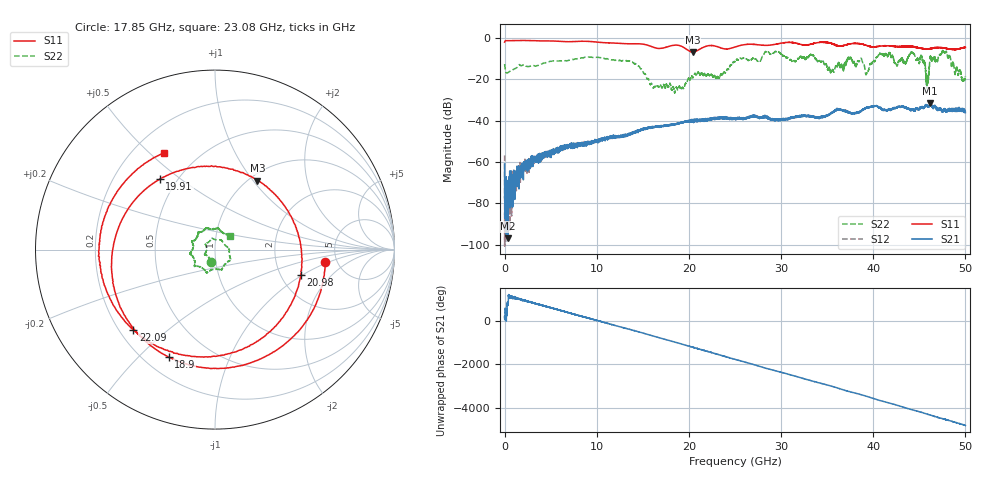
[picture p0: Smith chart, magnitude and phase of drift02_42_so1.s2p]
!Created with skrf (http://scikit-rf.org).
# Hz S RI R 50.0
!freq ReS11 ImS11 ReS21 ImS21 ReS12 ImS12 ReS22 ImS22
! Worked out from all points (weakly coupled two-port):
!   10001 points, 300 kHz to 50 GHz, reference 50 ohm
!   highest |S21| = -31.45 dB at 46.17 GHz (marker M1); lowest = -96.8 dB at 375.3 MHz (marker M2)
!   lowest |S11| = -6.9 dB at 20.41 GHz (marker M3), VSWR 2.64, Z = 54.5 + j52.5 ohm
!   |S11| at or under -10 dB: nowhere
!   |S22| runs from -26.7 to -6.1 dB; largest |S21 - S12| = 0.0035
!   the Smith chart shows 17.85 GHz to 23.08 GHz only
!   S11 on the Smith chart (normalised r, x): 17.85 GHz: 4.03, -0.88; 18.9 GHz: 0.30, -0.62; 19.91 GHz: 0.40, +0.42; 20.98 GHz: 2.56, -0.97; 22.09 GHz: 0.26, -0.39; 23.08 GHz: 0.33, +0.56
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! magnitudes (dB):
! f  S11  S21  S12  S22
! 300 kHz  -2.1  -61.0  -56.8  -12.7
! 375.3 MHz  -1.4  -96.8  -77.5  -16.8
! 3.01 GHz  -1.4  -58.7  -59.6  -13.5
! 8.335 GHz  -1.7  -51.3  -50.9  -9.7
! 13.7 GHz  -2.9  -46.4  -46.4  -11.7
! 16.67 GHz  -5.2  -43.0  -42.8  -23.6
! 17.85 GHz  -4.2  -42.1  -42.3  -23.0
! 18.9 GHz  -3.7  -41.5  -41.5  -24.0
! 19.91 GHz  -6.1  -40.0  -40.4  -19.9
! 20.41 GHz  -6.9  -40.2  -40.0  -19.1
! 20.98 GHz  -6.1  -40.0  -39.7  -16.7
! 22.09 GHz  -3.9  -39.3  -39.5  -17.8
! 23.08 GHz  -4.3  -38.8  -38.8  -19.0
! 25 GHz  -4.5  -39.2  -39.1  -11.5
! 33.34 GHz  -3.1  -37.8  -38.0  -8.3
! 39.32 GHz  -3.8  -33.7  -33.7  -17.0
! 41.67 GHz  -3.9  -34.7  -34.7  -7.8
! 44.26 GHz  -4.2  -34.7  -34.4  -7.4
! 45.85 GHz  -5.4  -33.0  -33.3  -20.1
! 46.17 GHz  -5.3  -31.5  -31.8  -9.4
! 47.75 GHz  -5.0  -34.8  -34.9  -6.8
! 50 GHz  -4.7  -36.1  -35.6  -18.6
